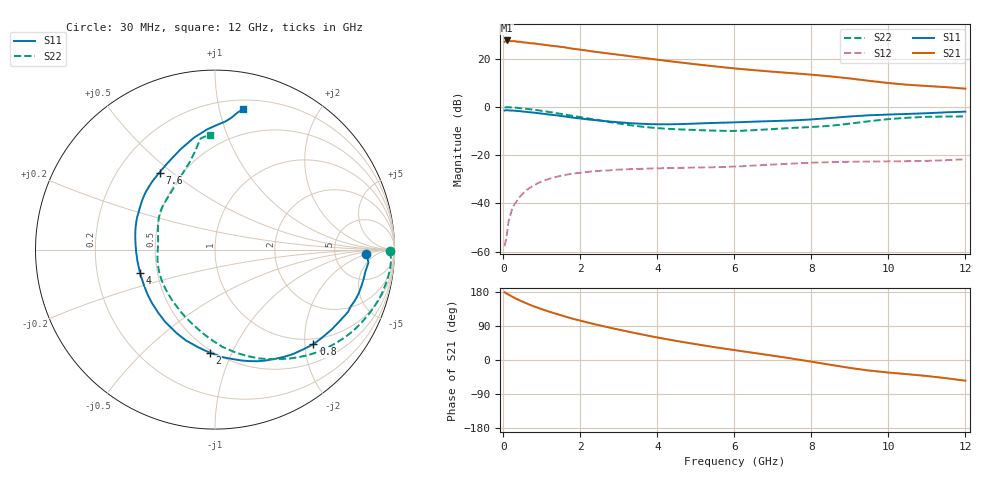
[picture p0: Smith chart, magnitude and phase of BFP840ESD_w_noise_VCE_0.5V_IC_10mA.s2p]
! Infineon Technologies  Discrete & RF Semiconductors
! BFP840ESD
! VCE =  0.5 V,  IC =  10 mA
! Common Emitter S-Parameters:  May 2012
# GHz  S  MA  R  50
!  f  S11  S21  S12  S22
! GHz  MAG  ANG  MAG  ANG  MAG  ANG  MAG  ANG
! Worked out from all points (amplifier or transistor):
!   93 points, 30 MHz to 12 GHz, reference 50 ohm
!   highest |S21| = 27.6 dB at 80 MHz (marker M1)
!   |S21| within 3 dB of that: start of sweep to 1.645 GHz
!   unconditionally stable (mu >= 1): 5.385 GHz to 11.11 GHz
!   at 1.1 GHz: K = 0.26, MSG = 28.0 dB, |S12| = -30.3 dB
!   at 4.2 GHz: K = 0.82, MSG = 22.3 dB, |S12| = -25.4 dB
!   at 12 GHz: K = 0.87, MSG = 14.6 dB, |S12| = -21.7 dB
!   lowest NFmin = 0.81 dB at 450 MHz
!   S11 on the Smith chart (normalised r, x): 30 MHz: 11, -2; 800 MHz: 0.87, -2.19; 2 GHz: 0.48, -0.83; 4 GHz: 0.40, -0.13; 7.6 GHz: 0.38, +0.45; 12 GHz: 0.27, +1.18
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0.03  0.8434 -1.8  22.27 178.8  0.0013 81.8  0.9753 -0.6
0.08  0.8581 -4.8  23.86 175.6  0.002 117.8  0.9827 -3.1
0.13  0.8468 -8.3  22.97 172.8  0.0041 79.6  0.9822 -5.7
0.28  0.8367 -17.1  23.09 164.4  0.0094 81.8  0.9673 -12.6
0.43  0.8187 -25.1  22.53 156.9  0.0138 73.9  0.945 -19.1
0.5  0.8021 -29.4  21.77 153.7  0.0158 73.2  0.9318 -22.2
0.8  0.7605 -43.9  20.69 141.2  0.0239 63.9  0.8731 -34.1
1.1  0.7103 -57.4  19.2 130.5  0.0307 55.6  0.8063 -45.2
1.4  0.6661 -69.0  18 121.0  0.0359 48.8  0.7377 -55.3
2  0.5754 -92.7  15.35 103.8  0.0432 37.7  0.6143 -73.9
2.1  0.5628 -96.3  14.98 101.2  0.0444 35.8  0.5951 -76.9
2.4  0.5318 -107.6  13.82 93.6  0.0466 32.0  0.5457 -85.3
2.9  0.4881 -125.0  12.32 82.2  0.0496 26.2  0.4663 -99.3
3.5  0.4518 -146.0  10.69 69.3  0.052 20.9  0.3988 -117.5
4  0.4376 -162.8  9.522 59.4  0.0534 17.3  0.3638 -133.2
4.1  0.436 -166.1  9.307 57.5  0.0536 16.7  0.3593 -136.4
5  0.4518 169.5  7.649 41.7  0.0555 12.3  0.3318 -161.5
6.1  0.4816 149.6  6.185 24.7  0.0585 9.6  0.3201 172.5
7.6  0.5289 125.7  4.937 2.1  0.0676 3.3  0.3704 145.1
8.5  0.5897 109.2  4.287 -12.7  0.0717 -2.6  0.4068 126.0
10.5  0.716 85.4  2.88 -37.5  0.075 -13.6  0.5968 99.0
12  0.7982 78.6  2.391 -54.6  0.082 -18.7  0.637 92.3
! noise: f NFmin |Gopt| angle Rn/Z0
0.45  0.81  0.27  1  0.13
0.9  0.82  0.27  5  0.13
1.5  0.83  0.27  11  0.12
1.9  0.83  0.26  16  0.12
2.4  0.84  0.22  24  0.12
3.5  0.85  0.14  60  0.1
5.5  0.93  0.08  152  0.09
8  1.07  0.3  -125  0.11
10  1.21  0.47  -86  0.18
12  1.42  0.6  -71  0.28
